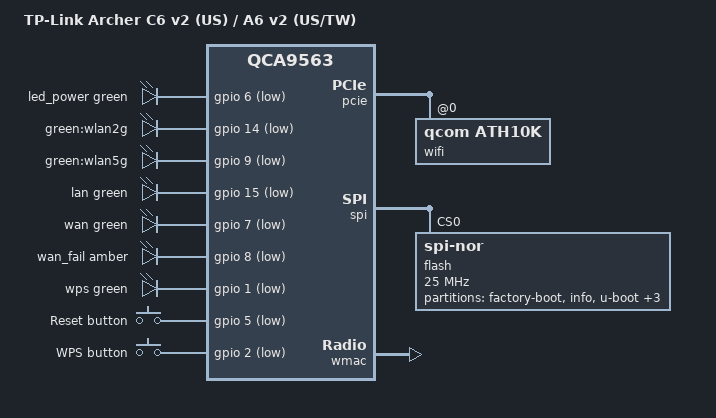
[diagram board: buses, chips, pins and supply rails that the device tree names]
// SPDX-License-Identifier: GPL-2.0-or-later OR MIT

#include <dt-bindings/leds/common.h>

#include "qca9563_tplink_archer-x6-v2.dtsi"

/ {
	compatible = "tplink,archer-c6-v2-us", "qca,qca9563";
	model = "TP-Link Archer C6 v2 (US) / A6 v2 (US/TW)";

	aliases {
		label-mac-device = &eth0;

		led-boot = &led_power;
		led-failsafe = &led_power;
		led-running = &led_power;
		led-upgrade = &led_power;
	};

	leds {
		compatible = "gpio-leds";

		led_power: power {
			function = LED_FUNCTION_POWER;
			color = <LED_COLOR_ID_GREEN>;
			gpios = <&gpio 6 GPIO_ACTIVE_LOW>;
			default-state = "on";
		};

		wlan2g {
			label = "green:wlan2g";
			gpios = <&gpio 14 GPIO_ACTIVE_LOW>;
			linux,default-trigger = "phy1tpt";
		};

		wlan5g {
			label = "green:wlan5g";
			gpios = <&gpio 9 GPIO_ACTIVE_LOW>;
			linux,default-trigger = "phy0tpt";
		};

		lan {
			function = LED_FUNCTION_LAN;
			color = <LED_COLOR_ID_GREEN>;
			gpios = <&gpio 15 GPIO_ACTIVE_LOW>;
		};

		wan {
			function = LED_FUNCTION_WAN;
			color = <LED_COLOR_ID_GREEN>;
			gpios = <&gpio 7 GPIO_ACTIVE_LOW>;
		};

		wan_fail {
			function = LED_FUNCTION_WAN;
			color = <LED_COLOR_ID_AMBER>;
			gpios = <&gpio 8 GPIO_ACTIVE_LOW>;
		};

		wps {
			function = LED_FUNCTION_WPS;
			color = <LED_COLOR_ID_GREEN>;
			gpios = <&gpio 1 GPIO_ACTIVE_LOW>;
		};
	};

	keys {
		compatible = "gpio-keys";

		reset {
			label = "Reset button";
			linux,code = <KEY_RESTART>;
			gpios = <&gpio 5 GPIO_ACTIVE_LOW>;
			debounce-interval = <60>;
		};

		wps {
			label = "WPS button";
			linux,code = <KEY_WPS_BUTTON>;
			gpios = <&gpio 2 GPIO_ACTIVE_LOW>;
			debounce-interval = <60>;
		};
	};
};

&pcie {
	wifi@0,0 {
		compatible = "qcom,ath10k";
		reg = <0x0000 0 0 0 0>;
		nvmem-cells = <&precal_art_5000>, <&macaddr_info_8 (-1)>;
		nvmem-cell-names = "pre-calibration", "mac-address";
	};
};

&spi {
	status = "okay";

	flash@0 {
		compatible = "jedec,spi-nor";
		reg = <0>;
		spi-max-frequency = <25000000>;

		partitions {
			compatible = "fixed-partitions";
			#address-cells = <1>;
			#size-cells = <1>;

			partition@0 {
				label = "factory-boot";
				reg = <0x000000 0x020000>;
				read-only;
			};

			info: partition@20000 {
				label = "info";
				reg = <0x020000 0x010000>;
				read-only;

				nvmem-layout {
					compatible = "fixed-layout";
					#address-cells = <1>;
					#size-cells = <1>;

					macaddr_info_8: macaddr@8 {
						compatible = "mac-base";
						reg = <0x8 0x6>;
						#nvmem-cell-cells = <1>;
					};
				};
			};

			partition@30000 {
				label = "u-boot";
				reg = <0x030000 0x020000>;
				read-only;
			};

			partition@50000 {
				compatible = "denx,uimage";
				label = "firmware";
				reg = <0x050000 0xf80000>;
			};

			partition@fd0000 {
				label = "tplink";
				reg = <0xfd0000 0x020000>;
				read-only;
			};

			art: partition@ff0000 {
				label = "art";
				reg = <0xff0000 0x010000>;
				read-only;

				nvmem-layout {
					compatible = "fixed-layout";
					#address-cells = <1>;
					#size-cells = <1>;

					precal_art_5000: pre-calibration@5000 {
						reg = <0x5000 0x2f20>;
					};
				};
			};
		};
	};
};

&eth0 {
	nvmem-cells = <&macaddr_info_8 0>;
	nvmem-cell-names = "mac-address";
};

&wmac {
	mtd-cal-data = <&art 0x1000>;

	nvmem-cells = <&macaddr_info_8 0>;
	nvmem-cell-names = "mac-address";
};
